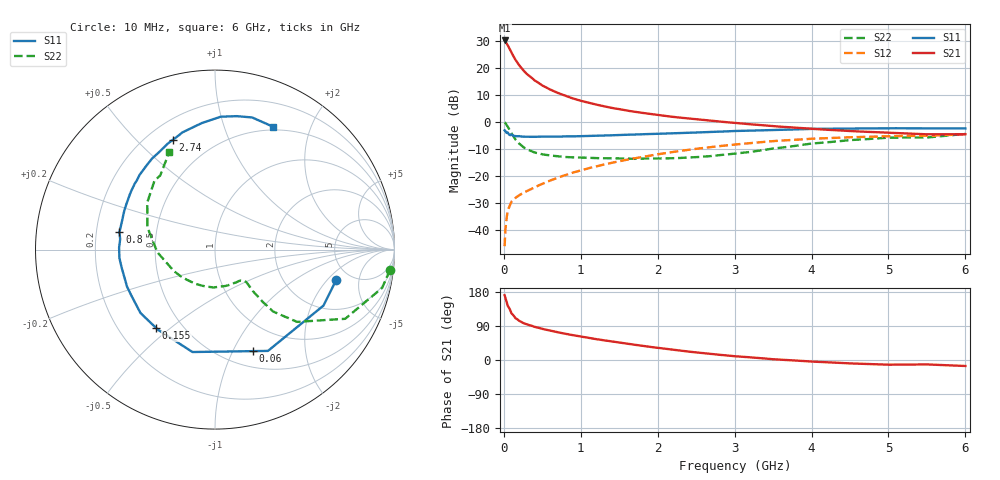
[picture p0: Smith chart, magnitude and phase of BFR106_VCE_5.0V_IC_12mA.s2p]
! Infineon Technologies  Discrete & RF Semiconductors
! BFR106
! VCE =  5.0 V,  IC =  12 mA
! Common Emitter S-Parameters:  Nov 2015
# GHz  S  MA  R  50
!  f  S11  S21  S12  S22
! GHz  MAG  ANG  MAG  ANG  MAG  ANG  MAG  ANG
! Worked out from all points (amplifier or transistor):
!   210 points, 10 MHz to 6 GHz, reference 50 ohm
!   highest |S21| = 30.2 dB at 10 MHz (marker M1)
!   |S21| within 3 dB of that: start of sweep to 72.34 MHz
!   unconditionally stable (mu >= 1): 463 MHz to 2.027 GHz; 5.363 GHz to end of sweep
!   at 185 MHz: K = 0.61, MSG = 24.5 dB, |S12| = -27.5 dB
!   at 1.52 GHz: K = 1.06, MAG = 8.0 dB, |S12| = -14.5 dB
!   at 6 GHz: K = 1.00, MAG = -0.3 dB, |S12| = -4.6 dB
!   S11 on the Smith chart (normalised r, x): 10 MHz: 3.86, -2.52; 60 MHz: 0.67, -1.20; 155 MHz: 0.36, -0.45; 800 MHz: 0.30, +0.08; 2.74 GHz: 0.30, +0.64; 6 GHz: 0.46, +1.48
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0.01  0.6965 -14.0  32.19 171.0  0.005 86.4  0.9815 -6.6
0.02  0.6801 -27.3  31.27 163.6  0.0099 78.6  0.9554 -12.9
0.05  0.6369 -62.4  26.41 143.3  0.0224 63.8  0.8215 -28.0
0.06  0.6037 -69.5  24.74 140.2  0.0245 60.7  0.7762 -30.1
0.1  0.5843 -102.4  19.06 122.9  0.0335 52.3  0.609 -41.4
0.15  0.5481 -125.4  14.13 110.5  0.0391 48.6  0.473 -46.8
0.155  0.5463 -126.8  13.83 109.9  0.0396 48.7  0.4653 -46.9
0.2  0.5451 -139.6  11.16 103.3  0.0438 49.6  0.3964 -47.6
0.26  0.5317 -151.2  8.806 96.9  0.0492 50.9  0.3359 -47.7
0.3  0.5319 -157.0  7.684 93.7  0.0522 52.7  0.3117 -47.6
0.4  0.5293 -167.3  5.871 87.5  0.0613 55.5  0.2709 -46.5
0.5  0.5347 -175.0  4.724 82.0  0.0713 58.4  0.2502 -46.1
0.6  0.5344 178.8  3.983 77.3  0.0817 60.6  0.2393 -46.9
0.8  0.5412 169.5  3.031 69.1  0.1035 62.5  0.2236 -50.4
1.02  0.5448 160.3  2.418 61.2  0.1288 63.5  0.2183 -56.0
1.4  0.5652 147.2  1.817 49.1  0.1744 62.5  0.2122 -69.4
2.02  0.6031 129.6  1.332 31.6  0.2536 57.0  0.2103 -98.4
2.74  0.6544 111.1  1.035 15.1  0.3479 47.6  0.2367 -138.9
3.1  0.6825 103.5  0.93 8.6  0.3926 41.9  0.2667 -158.4
4.1  0.7429 86.1  0.729 -5.0  0.493 25.3  0.4069 157.9
5.1  0.7627 73.2  0.622 -12.3  0.5448 10.4  0.5116 130.3
6  0.7572 64.8  0.592 -15.8  0.5881 -0.6  0.6005 115.1
